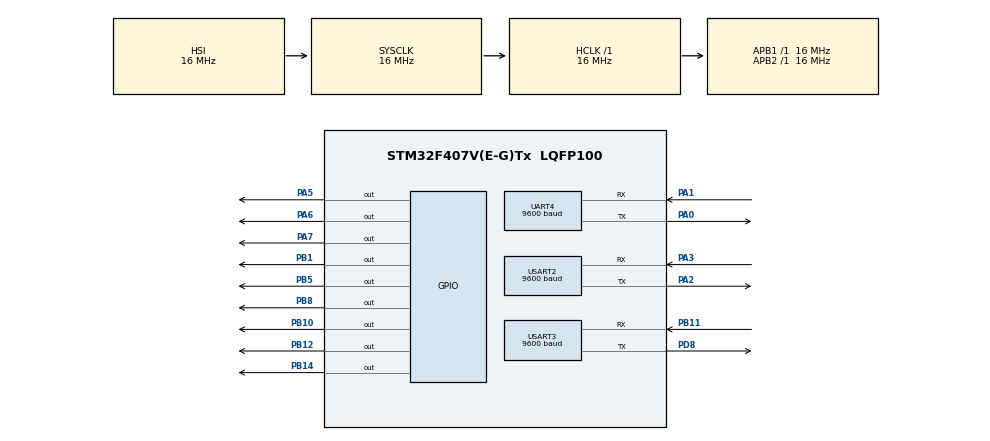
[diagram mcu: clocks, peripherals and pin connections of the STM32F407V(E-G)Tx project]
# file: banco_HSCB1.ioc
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Dma.Request0=UART4_RX
Dma.Request1=UART4_TX
Dma.Request2=USART2_RX
Dma.Request3=USART2_TX
Dma.Request4=USART3_RX
Dma.Request5=USART3_TX
Dma.UART4_RX.0.Direction=DMA_PERIPH_TO_MEMORY
Dma.UART4_RX.0.FIFOMode=DMA_FIFOMODE_DISABLE
Dma.UART4_RX.0.Instance=DMA1_Stream2
Dma.UART4_RX.0.MemDataAlignment=DMA_MDATAALIGN_BYTE
Dma.UART4_RX.0.MemInc=DMA_MINC_ENABLE
Dma.UART4_RX.0.Mode=DMA_NORMAL
Dma.UART4_RX.0.PeriphDataAlignment=DMA_PDATAALIGN_BYTE
Dma.UART4_RX.0.PeriphInc=DMA_PINC_DISABLE
Dma.UART4_RX.0.Priority=DMA_PRIORITY_LOW
Dma.UART4_TX.1.Direction=DMA_MEMORY_TO_PERIPH
Dma.UART4_TX.1.FIFOMode=DMA_FIFOMODE_DISABLE
Dma.UART4_TX.1.Instance=DMA1_Stream4
Dma.UART4_TX.1.MemDataAlignment=DMA_MDATAALIGN_BYTE
Dma.UART4_TX.1.MemInc=DMA_MINC_ENABLE
Dma.UART4_TX.1.Mode=DMA_CIRCULAR
Dma.UART4_TX.1.PeriphDataAlignment=DMA_PDATAALIGN_BYTE
Dma.UART4_TX.1.PeriphInc=DMA_PINC_DISABLE
Dma.UART4_TX.1.Priority=DMA_PRIORITY_LOW
Dma.USART2_RX.2.Direction=DMA_PERIPH_TO_MEMORY
Dma.USART2_RX.2.FIFOMode=DMA_FIFOMODE_DISABLE
Dma.USART2_RX.2.Instance=DMA1_Stream5
Dma.USART2_RX.2.MemDataAlignment=DMA_MDATAALIGN_BYTE
Dma.USART2_RX.2.MemInc=DMA_MINC_ENABLE
Dma.USART2_RX.2.Mode=DMA_NORMAL
Dma.USART2_RX.2.PeriphDataAlignment=DMA_PDATAALIGN_BYTE
Dma.USART2_RX.2.PeriphInc=DMA_PINC_DISABLE
Dma.USART2_RX.2.Priority=DMA_PRIORITY_LOW
Dma.USART2_TX.3.Direction=DMA_MEMORY_TO_PERIPH
Dma.USART2_TX.3.FIFOMode=DMA_FIFOMODE_DISABLE
Dma.USART2_TX.3.Instance=DMA1_Stream6
Dma.USART2_TX.3.MemDataAlignment=DMA_MDATAALIGN_BYTE
Dma.USART2_TX.3.MemInc=DMA_MINC_ENABLE
Dma.USART2_TX.3.Mode=DMA_CIRCULAR
Dma.USART2_TX.3.PeriphDataAlignment=DMA_PDATAALIGN_BYTE
Dma.USART2_TX.3.PeriphInc=DMA_PINC_DISABLE
Dma.USART2_TX.3.Priority=DMA_PRIORITY_LOW
Dma.USART3_RX.4.Direction=DMA_PERIPH_TO_MEMORY
Dma.USART3_RX.4.FIFOMode=DMA_FIFOMODE_DISABLE
Dma.USART3_RX.4.Instance=DMA1_Stream1
Dma.USART3_RX.4.MemDataAlignment=DMA_MDATAALIGN_BYTE
Dma.USART3_RX.4.MemInc=DMA_MINC_ENABLE
Dma.USART3_RX.4.Mode=DMA_NORMAL
Dma.USART3_RX.4.PeriphDataAlignment=DMA_PDATAALIGN_BYTE
Dma.USART3_RX.4.PeriphInc=DMA_PINC_DISABLE
Dma.USART3_RX.4.Priority=DMA_PRIORITY_LOW
Dma.USART3_TX.5.Direction=DMA_MEMORY_TO_PERIPH
Dma.USART3_TX.5.FIFOMode=DMA_FIFOMODE_DISABLE
Dma.USART3_TX.5.Instance=DMA1_Stream3
Dma.USART3_TX.5.MemDataAlignment=DMA_MDATAALIGN_BYTE
Dma.USART3_TX.5.MemInc=DMA_MINC_ENABLE
Dma.USART3_TX.5.Mode=DMA_NORMAL
Dma.USART3_TX.5.PeriphDataAlignment=DMA_PDATAALIGN_BYTE
Dma.USART3_TX.5.PeriphInc=DMA_PINC_DISABLE
Dma.USART3_TX.5.Priority=DMA_PRIORITY_LOW
Mcu.Family=STM32F4
Mcu.Name=STM32F407V(E-G)Tx
Mcu.Package=LQFP100
NVIC.DMA1_Stream1_IRQn=true\:0\:0\:false\:false\:true\:false\:true\:true
NVIC.DMA1_Stream2_IRQn=true\:0\:0\:false\:false\:true\:false\:true\:true
NVIC.DMA1_Stream3_IRQn=true\:0\:0\:false\:false\:true\:false\:true\:true
NVIC.DMA1_Stream4_IRQn=true\:0\:0\:false\:false\:true\:false\:true\:true
NVIC.DMA1_Stream5_IRQn=true\:0\:0\:false\:false\:true\:false\:true\:true
NVIC.DMA1_Stream6_IRQn=true\:0\:0\:false\:false\:true\:false\:true\:true
NVIC.PriorityGroup=NVIC_PRIORITYGROUP_4
NVIC.USART2_IRQn=true\:0\:0\:false\:false\:true\:true\:true\:true
NVIC.USART3_IRQn=true\:0\:0\:false\:false\:true\:true\:true\:true
PA0-WKUP.Mode=Asynchronous
PA0-WKUP.Signal=UART4_TX
PA1.Mode=Asynchronous
PA1.Signal=UART4_RX
PA2.Mode=Asynchronous
PA2.Signal=USART2_TX
PA3.Mode=Asynchronous
PA3.Signal=USART2_RX
PA5.Signal=GPIO_Output
PA6.Signal=GPIO_Output
PA7.Signal=GPIO_Output
PB1.Signal=GPIO_Output
PB10.Signal=GPIO_Output
PB11.Mode=Asynchronous
PB11.Signal=USART3_RX
PB12.Signal=GPIO_Output
PB14.Signal=GPIO_Output
PB5.Signal=GPIO_Output
PB8.Signal=GPIO_Output
PD8.Mode=Asynchronous
PD8.Signal=USART3_TX
ProjectManager.HeapSize=0x200
ProjectManager.StackSize=0x400
ProjectManager.TargetToolchain=STM32CubeIDE
RCC.AHBFreq_Value=16000000
RCC.APB1Freq_Value=16000000
RCC.APB2Freq_Value=16000000
RCC.CortexFreq_Value=16000000
RCC.HSE_VALUE=25000000
RCC.HSI_VALUE=16000000
RCC.LSE_VALUE=32768
RCC.SYSCLKFreq_VALUE=16000000
RCC.VCOOutputFreq_Value=192000000
UART4.BaudRate=9600
UART4.VirtualMode=Asynchronous
USART2.BaudRate=9600
USART2.VirtualMode=VM_ASYNC
USART3.BaudRate=9600
USART3.VirtualMode=VM_ASYNC
board=custom

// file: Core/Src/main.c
/* USER CODE BEGIN Header */
/**
  ******************************************************************************
  * @file           : main.c
  * @brief          : Main program body
  ******************************************************************************
  * @attention
  *
  * Copyright (c) 2023 STMicroelectronics.
  * All rights reserved.
  *
  * This software is licensed under terms that can be found in the LICENSE file
  * in the root directory of this software component.
  * If no LICENSE file comes with this software, it is provided AS-IS.
  *
  ******************************************************************************
  */
/* USER CODE END Header */
#include "main.h"

/* USER CODE BEGIN Includes */
/* El programa ha sido diseñado para permitir que un microcontrolador STM32 reciba señales seriales provenientes de una pantalla Nextion
*a través de los puertos UART. Mediante el análisis de las señales UART recibidas, el programa se encarga de activar selectivamente
*ciertos pines de salida en función de la señal UART detectada.*/

/* Agregamos las librerias necesarias*/
#include "string.h"
/* USER CODE END Includes */

UART_HandleTypeDef huart4;
UART_HandleTypeDef huart2;
UART_HandleTypeDef huart3;
DMA_HandleTypeDef hdma_uart4_rx;
DMA_HandleTypeDef hdma_uart4_tx;
DMA_HandleTypeDef hdma_usart2_rx;
DMA_HandleTypeDef hdma_usart2_tx;
DMA_HandleTypeDef hdma_usart3_rx;
DMA_HandleTypeDef hdma_usart3_tx;

/* USER CODE BEGIN PV */
// Definicion de las funciones de prueba
void TestDet(void);
void TestHscbwod(void);
void TestHscdsind(void);
/* USER CODE END PV */

void SystemClock_Config(void);
static void MX_GPIO_Init(void);
static void MX_DMA_Init(void);
static void MX_UART4_Init(void);
static void MX_USART2_UART_Init(void);
static void MX_USART3_UART_Init(void);

int main(void)
{
  /* USER CODE BEGIN 1 */
	// Variables para las secuencias de caracteres

		uint8_t Test[] = "INICIO\r\n";
		uint8_t Test1[] = "TEST\r\n";
		uint8_t Test2[] = "FIN\r\n";
	  /* USER CODE BEGIN 1 */
	// Variable que almacena la señal

		uint8_t byte;

  /* USER CODE END 1 */

  /* MCU Configuration--------------------------------------------------------*/

  /* Reset of all peripherals, Initializes the Flash interface and the Systick. */
  HAL_Init();

  /* Configure the system clock */
  SystemClock_Config();

  /* Initialize all configured peripherals */
  MX_GPIO_Init();
  MX_DMA_Init();
  MX_UART4_Init();
  MX_USART2_UART_Init();
  MX_USART3_UART_Init();

  /* Infinite loop */
  /* USER CODE BEGIN WHILE */
  while (1)
  {
	  //indica que la recepción se realiza de forma asíncrona mediante interrupciones//

	  HAL_Delay(1000);
	  HAL_UART_Receive_IT(&huart2, &byte, 1);
	  HAL_Delay(1000);

//  La función "switch" permite ejecutar diferentes bloques de código dependiendo del valor de una expresión //

	  switch(byte)
	  {
	 	 case 'a' :
	 		 HAL_UART_Transmit(&huart4, (uint8_t*)"TestDet", strlen("TestDet"),1000);
	 		 HAL_Delay(10);
	 		 TestDet();
	 	  	 break;
	 	 case 'b' :
	 		 	 HAL_UART_Transmit(&huart4, (uint8_t*)"TestHscbwod", strlen("TestHscbwod"),1000);
	 			 HAL_Delay(10);
	 	  		  TestHscbwod();
	 	  		  break;
	 	  case 'c' :
	 		  	  HAL_UART_Transmit(&huart4, (uint8_t*)"TestHscdsind", strlen("TestHscdsind"),1000);
	 		 	  HAL_Delay(10);
	 	  		  TestHscdsind();
	 			  break;
	 	  case 'd':
	 		  	  HAL_UART_Transmit(&huart3,Test,sizeof(Test),1000);
	 		  	  HAL_Delay(2000);
	 		  	  HAL_UART_Transmit(&huart3, Test1,sizeof(Test1),1000);
	 		  	  HAL_Delay(10000);
	 		  	  HAL_UART_Transmit(&huart3, Test2,sizeof(Test2),1000);
	 		 	  HAL_Delay(1000);
	 		 	  break;

	 	  default:
	 	  		  break;
	  }
    /* USER CODE END WHILE */

    /* USER CODE BEGIN 3 */
   }
    /* USER CODE END WHILE */

    /* USER CODE BEGIN 3 */

  /* USER CODE END 3 */
}

void SystemClock_Config(void)
{
  RCC_OscInitTypeDef RCC_OscInitStruct = {0};
  RCC_ClkInitTypeDef RCC_ClkInitStruct = {0};

  /** Configure the main internal regulator output voltage
  */
  __HAL_RCC_PWR_CLK_ENABLE();
  __HAL_PWR_VOLTAGESCALING_CONFIG(PWR_REGULATOR_VOLTAGE_SCALE1);

  /** Initializes the RCC Oscillators according to the specified parameters
  * in the RCC_OscInitTypeDef structure.
  */
  RCC_OscInitStruct.OscillatorType = RCC_OSCILLATORTYPE_HSI;
  RCC_OscInitStruct.HSIState = RCC_HSI_ON;
  RCC_OscInitStruct.HSICalibrationValue = RCC_HSICALIBRATION_DEFAULT;
  RCC_OscInitStruct.PLL.PLLState = RCC_PLL_NONE;
  if (HAL_RCC_OscConfig(&RCC_OscInitStruct) != HAL_OK)
  {
    Error_Handler();
  }

  /** Initializes the CPU, AHB and APB buses clocks
  */
  RCC_ClkInitStruct.ClockType = RCC_CLOCKTYPE_HCLK|RCC_CLOCKTYPE_SYSCLK
                              |RCC_CLOCKTYPE_PCLK1|RCC_CLOCKTYPE_PCLK2;
  RCC_ClkInitStruct.SYSCLKSource = RCC_SYSCLKSOURCE_HSI;
  RCC_ClkInitStruct.AHBCLKDivider = RCC_SYSCLK_DIV1;
  RCC_ClkInitStruct.APB1CLKDivider = RCC_HCLK_DIV1;
  RCC_ClkInitStruct.APB2CLKDivider = RCC_HCLK_DIV1;

  if (HAL_RCC_ClockConfig(&RCC_ClkInitStruct, FLASH_LATENCY_0) != HAL_OK)
  {
    Error_Handler();
  }
}

static void MX_UART4_Init(void)
{

  huart4.Instance = UART4;
  huart4.Init.BaudRate = 9600;
  huart4.Init.WordLength = UART_WORDLENGTH_8B;
  huart4.Init.StopBits = UART_STOPBITS_1;
  huart4.Init.Parity = UART_PARITY_NONE;
  huart4.Init.Mode = UART_MODE_TX_RX;
  huart4.Init.HwFlowCtl = UART_HWCONTROL_NONE;
  huart4.Init.OverSampling = UART_OVERSAMPLING_16;
  if (HAL_UART_Init(&huart4) != HAL_OK)
  {
    Error_Handler();
  }

}

static void MX_USART2_UART_Init(void)
{

  huart2.Instance = USART2;
  huart2.Init.BaudRate = 9600;
  huart2.Init.WordLength = UART_WORDLENGTH_8B;
  huart2.Init.StopBits = UART_STOPBITS_1;
  huart2.Init.Parity = UART_PARITY_NONE;
  huart2.Init.Mode = UART_MODE_TX_RX;
  huart2.Init.HwFlowCtl = UART_HWCONTROL_NONE;
  huart2.Init.OverSampling = UART_OVERSAMPLING_16;
  if (HAL_UART_Init(&huart2) != HAL_OK)
  {
    Error_Handler();
  }

}

static void MX_USART3_UART_Init(void)
{

  huart3.Instance = USART3;
  huart3.Init.BaudRate = 9600;
  huart3.Init.WordLength = UART_WORDLENGTH_8B;
  huart3.Init.StopBits = UART_STOPBITS_1;
  huart3.Init.Parity = UART_PARITY_NONE;
  huart3.Init.Mode = UART_MODE_TX_RX;
  huart3.Init.HwFlowCtl = UART_HWCONTROL_NONE;
  huart3.Init.OverSampling = UART_OVERSAMPLING_16;
  if (HAL_UART_Init(&huart3) != HAL_OK)
  {
    Error_Handler();
  }

}

static void MX_DMA_Init(void)
{

  /* DMA controller clock enable */
  __HAL_RCC_DMA1_CLK_ENABLE();

  /* DMA interrupt init */
  /* DMA1_Stream1_IRQn interrupt configuration */
  HAL_NVIC_SetPriority(DMA1_Stream1_IRQn, 0, 0);
  HAL_NVIC_EnableIRQ(DMA1_Stream1_IRQn);
  /* DMA1_Stream2_IRQn interrupt configuration */
  HAL_NVIC_SetPriority(DMA1_Stream2_IRQn, 0, 0);
  HAL_NVIC_EnableIRQ(DMA1_Stream2_IRQn);
  /* DMA1_Stream3_IRQn interrupt configuration */
  HAL_NVIC_SetPriority(DMA1_Stream3_IRQn, 0, 0);
  HAL_NVIC_EnableIRQ(DMA1_Stream3_IRQn);
  /* DMA1_Stream4_IRQn interrupt configuration */
  HAL_NVIC_SetPriority(DMA1_Stream4_IRQn, 0, 0);
  HAL_NVIC_EnableIRQ(DMA1_Stream4_IRQn);
  /* DMA1_Stream5_IRQn interrupt configuration */
  HAL_NVIC_SetPriority(DMA1_Stream5_IRQn, 0, 0);
  HAL_NVIC_EnableIRQ(DMA1_Stream5_IRQn);
  /* DMA1_Stream6_IRQn interrupt configuration */
  HAL_NVIC_SetPriority(DMA1_Stream6_IRQn, 0, 0);
  HAL_NVIC_EnableIRQ(DMA1_Stream6_IRQn);

}

static void MX_GPIO_Init(void)
{
  GPIO_InitTypeDef GPIO_InitStruct = {0};

  /* GPIO Ports Clock Enable */
  __HAL_RCC_GPIOA_CLK_ENABLE();
  __HAL_RCC_GPIOB_CLK_ENABLE();
  __HAL_RCC_GPIOD_CLK_ENABLE();

  /*Configure GPIO pin Output Level */
  HAL_GPIO_WritePin(GPIOA, GPIO_PIN_5|GPIO_PIN_6|GPIO_PIN_7, GPIO_PIN_RESET);

  /*Configure GPIO pin Output Level */
  HAL_GPIO_WritePin(GPIOB, GPIO_PIN_1|GPIO_PIN_10|GPIO_PIN_12|GPIO_PIN_14
                          |GPIO_PIN_5|GPIO_PIN_8, GPIO_PIN_RESET);

  /*Configure GPIO pins : PA5 PA6 PA7 */
  GPIO_InitStruct.Pin = GPIO_PIN_5|GPIO_PIN_6|GPIO_PIN_7;
  GPIO_InitStruct.Mode = GPIO_MODE_OUTPUT_PP;
  GPIO_InitStruct.Pull = GPIO_NOPULL;
  GPIO_InitStruct.Speed = GPIO_SPEED_FREQ_LOW;
  HAL_GPIO_Init(GPIOA, &GPIO_InitStruct);

  /*Configure GPIO pins : PB1 PB10 PB12 PB14
                           PB5 PB8 */
  GPIO_InitStruct.Pin = GPIO_PIN_1|GPIO_PIN_10|GPIO_PIN_12|GPIO_PIN_14
                          |GPIO_PIN_5|GPIO_PIN_8;
  GPIO_InitStruct.Mode = GPIO_MODE_OUTPUT_PP;
  GPIO_InitStruct.Pull = GPIO_NOPULL;
  GPIO_InitStruct.Speed = GPIO_SPEED_FREQ_LOW;
  HAL_GPIO_Init(GPIOB, &GPIO_InitStruct);

}

/* USER CODE BEGIN 4 */
// Las siguientes funciones imprimen una cadena de caracteres y cambian el estado de las salidas GPIO
void TestDet (void)
{
	int timeout=0;
	int aux =0;

		HAL_UART_Transmit(&huart4, (uint8_t*)"TestDet1", strlen("TestDet1"),1000);
		HAL_Delay(1000);
		HAL_GPIO_WritePin(GPIOA, GPIO_PIN_5, 1);
		HAL_GPIO_WritePin(GPIOB, GPIO_PIN_10, 1);
		HAL_GPIO_WritePin(GPIOB, GPIO_PIN_12, 1);
		HAL_GPIO_WritePin(GPIOA, GPIO_PIN_7, 0);
		HAL_GPIO_WritePin(GPIOB, GPIO_PIN_1,0);
		HAL_GPIO_WritePin(GPIOB, GPIO_PIN_14, 0);
		HAL_GPIO_WritePin(GPIOA, GPIO_PIN_6, 0);
		HAL_GPIO_WritePin(GPIOB, GPIO_PIN_5, 0);
		HAL_GPIO_WritePin(GPIOB, GPIO_PIN_8, 0);
		while(timeout<10||aux==1)
	{
		HAL_Delay(1000);
		timeout++;
		aux=HAL_GPIO_ReadPin(GPIOC, GPIO_PIN_0);
	}
		HAL_UART_Transmit(&huart4, (uint8_t*)"FinFnctn1", strlen("FinFnctn1"),1000);
}
void TestHscbwod (void)
{
	int timeout=0;
	int aux = 0;
	HAL_UART_Transmit(&huart4, (uint8_t*)"TestHscbwod2", strlen("TestHscbwod2"),1000);
	HAL_Delay(1000);
	HAL_GPIO_WritePin(GPIOA, GPIO_PIN_5, 0);
	HAL_GPIO_WritePin(GPIOB, GPIO_PIN_10, 0);
	HAL_GPIO_WritePin(GPIOB, GPIO_PIN_12, 0);
	HAL_GPIO_WritePin(GPIOA, GPIO_PIN_7, 1);
	HAL_GPIO_WritePin(GPIOB, GPIO_PIN_1,1);
	HAL_GPIO_WritePin(GPIOB, GPIO_PIN_14, 1);
	HAL_GPIO_WritePin(GPIOA, GPIO_PIN_6, 0);
	HAL_GPIO_WritePin(GPIOB, GPIO_PIN_5, 0);
	HAL_GPIO_WritePin(GPIOB, GPIO_PIN_8, 0);
	while(timeout<10||aux==1)
		{
			HAL_Delay(1000);
			timeout++;
			aux=HAL_GPIO_ReadPin(GPIOC, GPIO_PIN_0);
		}
		HAL_UART_Transmit(&huart4, (uint8_t*)"FinFnctn2", strlen("FinFnctn2"),1000);
}
void TestHscdsind (void)
{

	int timeout=0;
    int aux =0;
    HAL_UART_Transmit(&huart4, (uint8_t*)"TestHscdsind3", strlen("TestHscdsind3"),1000);
    HAL_Delay(1000);
	HAL_GPIO_WritePin(GPIOA, GPIO_PIN_5, 0);
	HAL_GPIO_WritePin(GPIOB, GPIO_PIN_10, 0);
	HAL_GPIO_WritePin(GPIOB, GPIO_PIN_12, 0);
	HAL_GPIO_WritePin(GPIOA, GPIO_PIN_7, 0);
	HAL_GPIO_WritePin(GPIOB, GPIO_PIN_1,0);
	HAL_GPIO_WritePin(GPIOB, GPIO_PIN_14, 0);
	HAL_GPIO_WritePin(GPIOA, GPIO_PIN_6, 1);
	HAL_GPIO_WritePin(GPIOB, GPIO_PIN_5, 1);
	HAL_GPIO_WritePin(GPIOB, GPIO_PIN_8, 1);
	while(timeout<10||aux==1)
			{
				HAL_Delay(1000);
				timeout++;
				aux=HAL_GPIO_ReadPin(GPIOC, GPIO_PIN_0);
			}
	HAL_UART_Transmit(&huart4, (uint8_t*)"FinFnctn3", strlen("FinFnctn3"),1000);
}
/* USER CODE END 4 */

void Error_Handler(void)
{
  __disable_irq();
  while (1)
  {
  }
}
